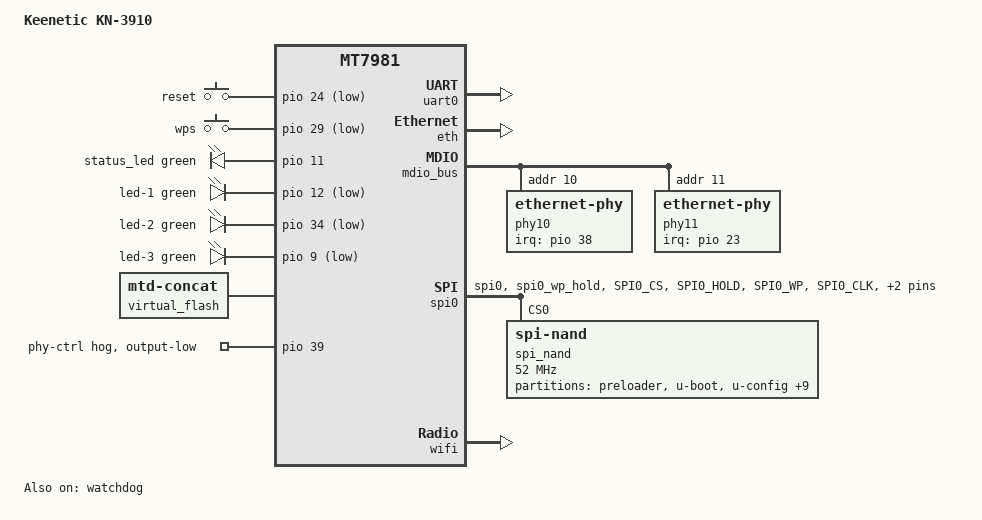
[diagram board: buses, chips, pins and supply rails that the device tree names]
// SPDX-License-Identifier: GPL-2.0-only OR MIT

/dts-v1/;

#include "mt7981b.dtsi"

/ {
	model = "Keenetic KN-3910";
	compatible = "keenetic,kn-3910", "mediatek,mt7981";

	aliases {
		label-mac-device = &gmac1;
		led-boot = &status_led;
		led-failsafe = &status_led;
		led-running = &status_led;
		led-upgrade = &status_led;
		serial0 = &uart0;
	};

	chosen {
		stdout-path = "serial0:115200n8";
	};

	gpio-keys {
		compatible = "gpio-keys";

		button-reset {
			label = "reset";
			linux,code = <KEY_RESTART>;
			gpios = <&pio 24 GPIO_ACTIVE_LOW>;
		};

		button-wps {
			label = "wps";
			linux,code = <KEY_WPS_BUTTON>;
			gpios = <&pio 29 GPIO_ACTIVE_LOW>;
		};
	};

	gpio-leds {
		compatible = "gpio-leds";

		status_led: led-0 {
			color = <LED_COLOR_ID_GREEN>;
			function = LED_FUNCTION_STATUS;
			gpios = <&pio 11 GPIO_ACTIVE_HIGH>;
		};

		led-1 {
			color = <LED_COLOR_ID_GREEN>;
			function = LED_FUNCTION_WAN;
			gpios = <&pio 12 GPIO_ACTIVE_LOW>;
		};

		led-2 {
			color = <LED_COLOR_ID_GREEN>;
			function = LED_FUNCTION_WLAN;
			gpios = <&pio 34 GPIO_ACTIVE_LOW>;
		};

		led-3 {
			color = <LED_COLOR_ID_GREEN>;
			function = "fn";
			gpios = <&pio 9 GPIO_ACTIVE_LOW>;
		};
	};

	virtual_flash {
		compatible = "mtd-concat";
		devices = <&firmware1 &firmware2>;

		partitions {
			compatible = "fixed-partitions";
			#address-cells = <1>;
			#size-cells = <1>;

			partition@0 {
				label = "kernel";
				reg = <0x0 0x600000>;
			};

			partition@600000 {
				label = "ubi";
				reg = <0x600000 0x0>;
			};
		};
	};
};

&uart0 {
	status = "okay";
};

&watchdog {
	status = "okay";
};

&eth {
	status = "okay";
	pinctrl-names = "default";
	pinctrl-0 = <&mdio_pins>;

	mac@0 {
		compatible = "mediatek,eth-mac";
		reg = <0>;
		phy-mode = "2500base-x";
		phy-handle = <&phy10>;
		label = "lan";

		nvmem-cell-names = "mac-address";
		nvmem-cells = <&macaddr_factory_4>;
	};

	gmac1: mac@1 {
		compatible = "mediatek,eth-mac";
		reg = <1>;
		phy-mode = "2500base-x";
		phy-handle = <&phy11>;
		label = "wan";

		nvmem-cell-names = "mac-address";
		nvmem-cells = <&macaddr_factory_a>;
	};
};

&mdio_bus {
	phy10: ethernet-phy@a {
		reg = <0xa>;
		interrupt-parent = <&pio>;
		interrupts = <38 IRQ_TYPE_EDGE_FALLING>;
	};

	phy11: ethernet-phy@b {
		reg = <0xb>;
		interrupt-parent = <&pio>;
		interrupts = <23 IRQ_TYPE_EDGE_FALLING>;
	};
};

&pio {
	/* stock firmware drives it low at boot, no per-PHY reset lines are used */
	gpio-39-hog {
		gpio-hog;
		gpios = <39 GPIO_ACTIVE_HIGH>;
		output-low;
		line-name = "phy-ctrl";
	};

	spi0_flash_pins: spi0-pins {
		mux {
			function = "spi";
			groups = "spi0", "spi0_wp_hold";
		};

		conf-pu {
			pins = "SPI0_CS", "SPI0_HOLD", "SPI0_WP";
			drive-strength = <MTK_DRIVE_8mA>;
			bias-pull-up = <MTK_PUPD_SET_R1R0_11>;
		};

		conf-pd {
			pins = "SPI0_CLK", "SPI0_MOSI", "SPI0_MISO";
			drive-strength = <MTK_DRIVE_8mA>;
			bias-pull-down = <MTK_PUPD_SET_R1R0_11>;
		};
	};
};

&spi0 {
	pinctrl-names = "default";
	pinctrl-0 = <&spi0_flash_pins>;
	status = "okay";

	/* Winbond SPI-NAND (128M) */
	spi_nand@0 {
		compatible = "spi-nand";
		reg = <0>;

		spi-max-frequency = <52000000>;
		spi-tx-bus-width = <4>;
		spi-rx-bus-width = <4>;

		mediatek,nmbm;
		mediatek,bmt-max-ratio = <1>;
		mediatek,bmt-max-reserved-blocks = <256>;

		partitions {
			compatible = "fixed-partitions";
			#address-cells = <1>;
			#size-cells = <1>;

			/* bl2 */
			partition@0 {
				label = "preloader";
				reg = <0x0 0x80000>;
				read-only;
			};

			/* fip */
			partition@80000 {
				label = "u-boot";
				reg = <0x80000 0x200000>;
				read-only;
			};

			partition@280000 {
				label = "u-config";
				reg = <0x280000 0x80000>;
				read-only;
			};

			partition@300000 {
				label = "rf-eeprom";
				reg = <0x300000 0x200000>;
				read-only;

				nvmem-layout {
					compatible = "fixed-layout";
					#address-cells = <1>;
					#size-cells = <1>;

					eeprom_factory_0: eeprom@0 {
						reg = <0x0 0x1000>;
					};

					/* lan mac */
					macaddr_factory_4: macaddr@4 {
						reg = <0x4 0x6>;
					};

					/* wan mac */
					macaddr_factory_a: macaddr@a {
						reg = <0xa 0x6>;
					};
				};
			};

			firmware1: partition@500000 {
				label = "firmware_1";
				reg = <0x500000 0x3500000>;
			};

			partition@3a00000 {
				label = "config_1";
				reg = <0x3a00000 0x80000>;
				read-only;
			};

			partition@3a80000 {
				label = "dump";
				reg = <0x3a80000 0x80000>;
				read-only;
			};

			partition@3c00000 {
				label = "u-state";
				reg = <0x3c00000 0x80000>;
				read-only;
			};

			partition@3e80000 {
				label = "d-state";
				reg = <0x3e80000 0x80000>;
				read-only;
			};

			partition@3f00000 {
				label = "rf-eeprom_res";
				reg = <0x3f00000 0x200000>;
				read-only;
			};

			firmware2: partition@4100000 {
				label = "firmware_2";
				reg = <0x4100000 0x3500000>;
			};

			partition@7600000 {
				label = "config_2";
				reg = <0x7600000 0x80000>;
				read-only;
			};
		};
	};
};

&wifi {
	nvmem-cell-names = "eeprom";
	nvmem-cells = <&eeprom_factory_0>;
	status = "okay";
};
